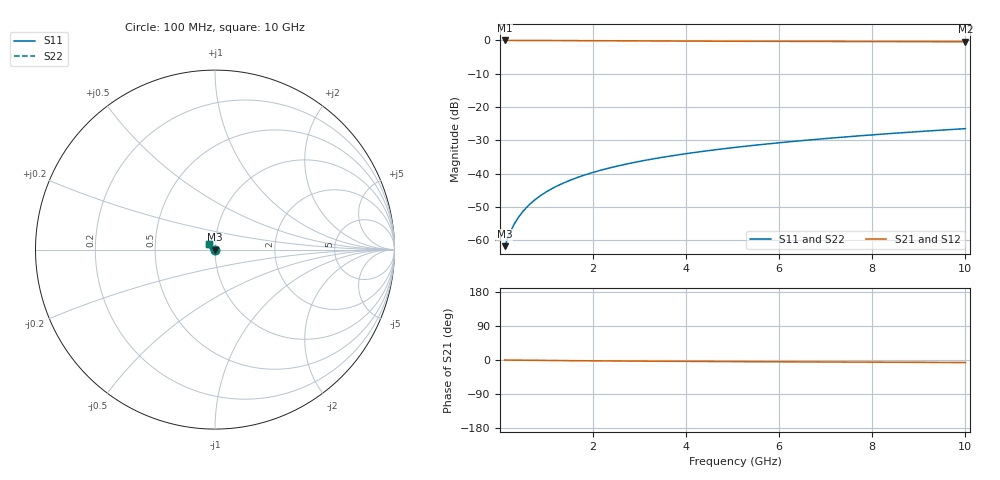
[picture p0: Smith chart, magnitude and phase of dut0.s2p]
! Touchstone file exported from HFSS 2024.1.0
!  File:  C:/UserFiles/LocalFiles/RDL_TSV_Batchsim/temp_TSV1_0_1779367263.aedt
!  Generated:  08:48:10 PM May 21, 2026
!  Design:  TSV1
!  Project:  temp_TSV1_0_1779367263
!  Setup:  Setup1
!  Solution:  Sweep
! Variables:
!  dtsv = 5.08um
!  hbump = 3um
!  htsv = 99.49um
!  lrdl = 252.1521522um
!  p = 40
!  p1 = 51.03um
!  t = 500um
!  trdl = 3um
!  wrdl = 24.89489489um
# GHz S MA R 50.000000
! Terminal data exported
! Port[1] = TSV22_T1
! Port[2] = TSV22_T2
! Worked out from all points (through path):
!   100 points, 100 MHz to 10 GHz, reference 50 ohm
!   highest |S21| = -0.01 dB at 100 MHz (marker M1); lowest = -0.4 dB at 10 GHz (marker M2)
!   lowest |S11| = -61.8 dB at 100 MHz (marker M3), VSWR 1.00, Z = 50.1 - j0.0551 ohm
!   |S11| at or under -10 dB: start of sweep to end of sweep
!   |S22| runs from -61.8 to -26.5 dB; largest |S21 - S12| = 3.7e-15
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0.1  0.0008128 -42.6  0.9993 -0.1  0.9993 -0.1  0.0008128 -42.6
! Gamma 0 0 0 0
! Port Impedance 50 0 50 0
0.2  0.001232 -64.4  0.9993 -0.2  0.9993 -0.2  0.001232 -64.4
0.3  0.001716 -76.1  0.9991 -0.4  0.9991 -0.4  0.001716 -76.1
0.4  0.002222 -83.7  0.999 -0.5  0.999 -0.5  0.002222 -83.7
0.5  0.002737 -89.4  0.9987 -0.6  0.9987 -0.6  0.002737 -89.4
0.6  0.003256 -94.1  0.9985 -0.7  0.9985 -0.7  0.003256 -94.1
0.7  0.003777 -98.2  0.9982 -0.8  0.9982 -0.8  0.003777 -98.2
0.9  0.004818 -105.2  0.9974 -1.0  0.9974 -1.0  0.004818 -105.2
1  0.005337 -108.4  0.997 -1.2  0.997 -1.2  0.005337 -108.4
1.2  0.006371 -114.4  0.996 -1.4  0.996 -1.4  0.006371 -114.4
1.5  0.007906 -122.5  0.9944 -1.7  0.9944 -1.7  0.007906 -122.5
1.8  0.009419 -130.1  0.9926 -2.0  0.9926 -2.0  0.009419 -130.1
2.1  0.01091 -137.1  0.9906 -2.2  0.9906 -2.2  0.01091 -137.1
2.5  0.01286 -145.7  0.9878 -2.6  0.9878 -2.6  0.01286 -145.7
2.9  0.01478 -153.6  0.9851 -2.9  0.9851 -2.9  0.01478 -153.6
3.4  0.01713 -162.6  0.9818 -3.2  0.9818 -3.2  0.01713 -162.6
4.2  0.02084 -175.1  0.9769 -3.7  0.9769 -3.7  0.02084 -175.1
5.1  0.02495 173.2  0.9723 -4.3  0.9723 -4.3  0.02496 173.2
5.9  0.0286 164.6  0.9688 -4.7  0.9688 -4.7  0.0286 164.6
6.7  0.03224 157.1  0.966 -5.1  0.966 -5.1  0.03224 157.1
8.4  0.04 144.6  0.9612 -5.9  0.9612 -5.9  0.04 144.6
10  0.04733 135.7  0.958 -6.7  0.958 -6.7  0.04733 135.7
